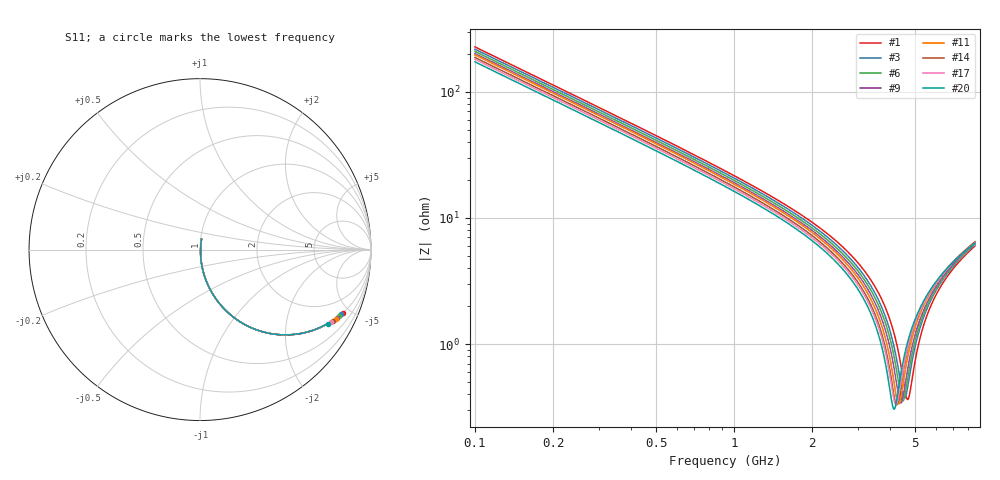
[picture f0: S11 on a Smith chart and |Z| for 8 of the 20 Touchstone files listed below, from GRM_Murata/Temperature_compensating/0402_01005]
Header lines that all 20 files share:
!These Parameters are Measured in Series Mode Connection
!Data Generated on Mar 30, 2021
!  o--ll--o
!Port1  Port2
!  o------o
!Operation Temp=25[degC], DC Bias Voltage=0[V]
!Freq. Start=100[MHz] Stop=9[GHz] 401[Steps]
# Hz S RI R 50
!Freq.(Hz) S11(Real) S11(Imag) S21(Real) S21(Imag) S12(Real) S12(Imag) S22(Real) S22(Imag)
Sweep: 100 MHz to 8.5 GHz
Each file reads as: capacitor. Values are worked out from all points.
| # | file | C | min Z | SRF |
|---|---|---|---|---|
| 1 | GRM0222C1E7R0WA03.s2p | 7 pF | 363 mohm | 4.676 GHz |
| 2 | GRM0222C1E7R2BA03.s2p | 7.2 pF | 374 mohm | 4.583 GHz |
| 3 | GRM0222C1E7R3BA03.s2p | 7.3 pF | 372 mohm | 4.55 GHz |
| 4 | GRM0222C1E7R4WA03.s2p | 7.4 pF | 357 mohm | 4.542 GHz |
| 5 | GRM0222C1E7R5CA03.s2p | 7.5 pF | 355 mohm | 4.511 GHz |
| 6 | GRM0222C1E7R6WA03.s2p | 7.6 pF | 354 mohm | 4.48 GHz |
| 7 | GRM0222C1E7R7BA03.s2p | 7.7 pF | 344 mohm | 4.461 GHz |
| 8 | GRM0222C1E7R8BA03.s2p | 7.8 pF | 342 mohm | 4.432 GHz |
| 9 | GRM0222C1E7R9BA03.s2p | 7.9 pF | 341 mohm | 4.404 GHz |
| 10 | GRM0222C1E8R0WA03.s2p | 8 pF | 344 mohm | 4.33 GHz |
| 11 | GRM0222C1E8R1BA03.s2p | 8.1 pF | 336 mohm | 4.316 GHz |
| 12 | GRM0222C1E8R3CA03.s2p | 8.3 pF | 332 mohm | 4.281 GHz |
| 13 | GRM0222C1E8R4WA03.s2p | 8.4 pF | 331 mohm | 4.255 GHz |
| 14 | GRM0222C1E8R5BA03.s2p | 8.5 pF | 330 mohm | 4.242 GHz |
| 15 | GRM0222C1E8R6BA03.s2p | 8.6 pF | 330 mohm | 4.237 GHz |
| 16 | GRM0222C1E8R7BA03.s2p | 8.7 pF | 330 mohm | 4.226 GHz |
| 17 | GRM0222C1E8R8BA03.s2p | 8.8 pF | 329 mohm | 4.214 GHz |
| 18 | GRM0222C1E8R9WA03.s2p | 8.9 pF | 322 mohm | 4.202 GHz |
| 19 | GRM0222C1E9R0DA03.s2p | 9 pF | 321 mohm | 4.179 GHz |
| 20 | GRM0222C1E9R2CA03.s2p | 9.2 pF | 305 mohm | 4.146 GHz |
